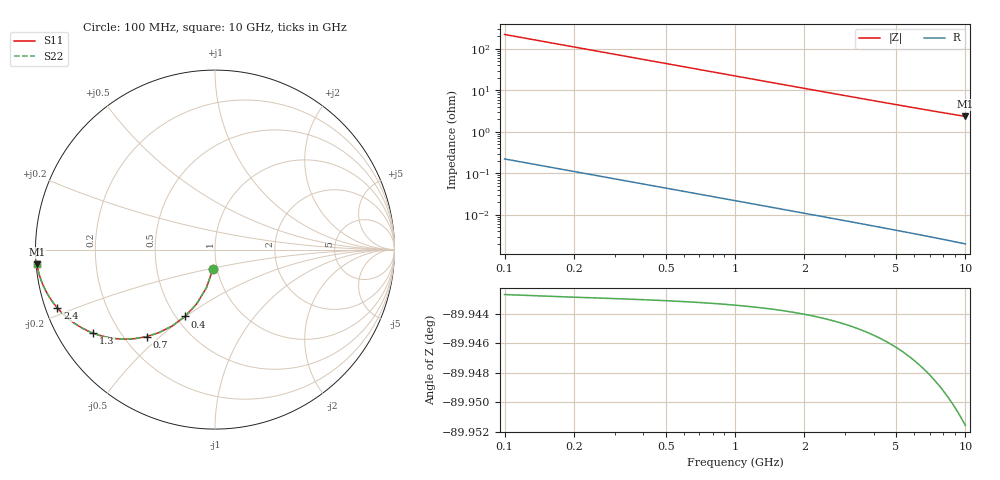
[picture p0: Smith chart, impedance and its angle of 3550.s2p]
# Hz S RI R 50.00
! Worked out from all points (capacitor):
!   100 points, 100 MHz to 10 GHz, reference 50 ohm
!   read as one part in shunt: C = 7.13 pF near 100 MHz
!   lowest |Z| = 2.36 ohm at 10 GHz (marker M1)
!   S11 on the Smith chart (normalised r, x): 100 MHz: 0.95, -0.21; 400 MHz: 0.55, -0.50; 700 MHz: 0.29, -0.45; 1.3 GHz: 0.11, -0.31; 2.4 GHz: 0.03, -0.18; 10 GHz: 0.00, -0.04
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1e8  -0.0125 -0.1106  0.9875 -0.1107  0.9875 -0.1107  -0.0125 -0.1106
2e8  -0.048 -0.2132  0.952 -0.2134  0.952 -0.2134  -0.048 -0.2132
3e8  -0.1018 -0.3017  0.8982 -0.302  0.8982 -0.302  -0.1018 -0.3017
4e8  -0.1675 -0.3727  0.8325 -0.3732  0.8325 -0.3732  -0.1675 -0.3727
5e8  -0.2391 -0.4257  0.7609 -0.4263  0.7609 -0.4263  -0.2391 -0.4257
6e8  -0.3113 -0.4622  0.6886 -0.4629  0.6886 -0.4629  -0.3113 -0.4622
7e8  -0.3808 -0.4847  0.6192 -0.4855  0.6192 -0.4855  -0.3808 -0.4847
8e8  -0.4453 -0.496  0.5547 -0.497  0.5547 -0.497  -0.4453 -0.496
1e9  -0.5562 -0.4958  0.4438 -0.4969  0.4438 -0.4969  -0.5562 -0.4958
1.1e9  -0.6025 -0.4883  0.3975 -0.4895  0.3975 -0.4895  -0.6025 -0.4883
1.3e9  -0.6789 -0.4656  0.321 -0.4671  0.321 -0.4671  -0.6789 -0.4656
1.5e9  -0.7377 -0.4385  0.2622 -0.4402  0.2622 -0.4402  -0.7377 -0.4385
1.8e9  -0.8018 -0.3971  0.1982 -0.3992  0.1982 -0.3992  -0.8018 -0.3971
2.1e9  -0.8461 -0.3591  0.1538 -0.3615  0.1538 -0.3615  -0.8461 -0.3591
2.4e9  -0.8777 -0.3258  0.1223 -0.3285  0.1223 -0.3285  -0.8777 -0.3258
2.9e9  -0.9127 -0.28  0.0872 -0.2834  0.0872 -0.2834  -0.9127 -0.28
3.4e9  -0.9349 -0.2442  0.0651 -0.2482  0.0651 -0.2482  -0.9349 -0.2442
4.2e9  -0.9563 -0.2014  0.0437 -0.2064  0.0437 -0.2064  -0.9563 -0.2014
5.1e9  -0.9699 -0.1672  0.03 -0.1732  0.03 -0.1732  -0.9699 -0.1672
6.7e9  -0.9824 -0.127  0.0176 -0.1349  0.0176 -0.1349  -0.9824 -0.127
8.4e9  -0.9888 -0.0996  0.0112 -0.1097  0.0112 -0.1097  -0.9888 -0.0996
1e10  -0.9921 -0.0817  0.00781 -0.0938  0.00781 -0.0938  -0.9921 -0.0817
